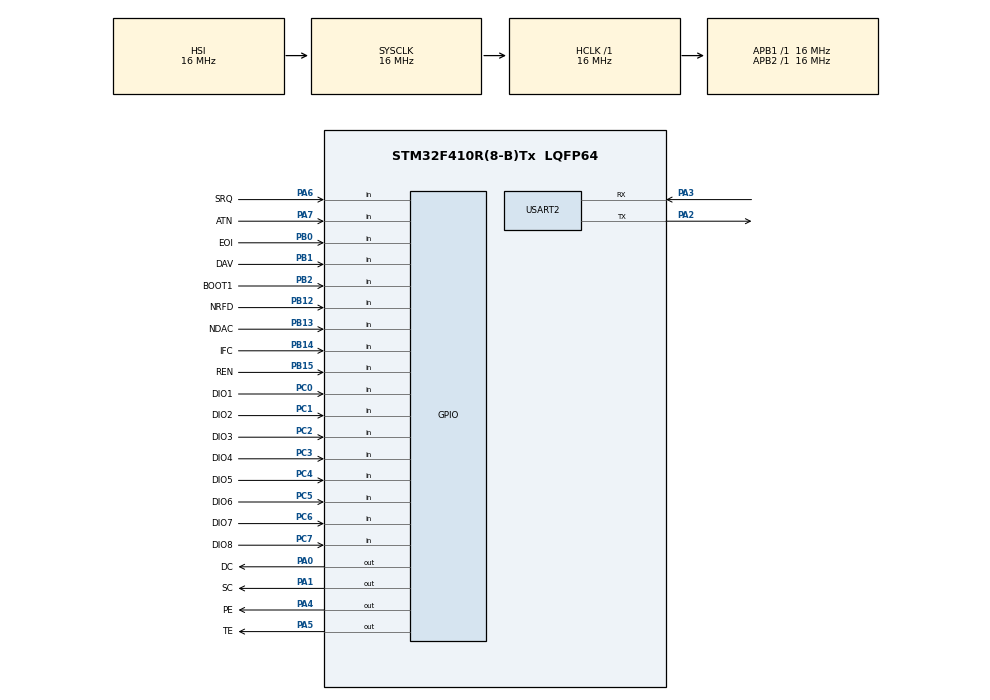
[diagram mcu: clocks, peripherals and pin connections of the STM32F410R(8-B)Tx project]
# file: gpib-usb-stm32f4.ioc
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Mcu.Family=STM32F4
Mcu.Name=STM32F410R(8-B)Tx
Mcu.Package=LQFP64
NVIC.PriorityGroup=NVIC_PRIORITYGROUP_4
PA0-WKUP.GPIO_Label=DC
PA0-WKUP.Signal=GPIO_Output
PA1.GPIO_Label=SC
PA1.Signal=GPIO_Output
PA13.Mode=Serial_Wire
PA13.Signal=SYS_JTMS-SWDIO
PA14.Mode=Serial_Wire
PA14.Signal=SYS_JTCK-SWCLK
PA2.Mode=Asynchronous
PA2.Signal=USART2_TX
PA3.Mode=Asynchronous
PA3.Signal=USART2_RX
PA4.GPIO_Label=PE
PA4.Signal=GPIO_Output
PA5.GPIO_Label=TE
PA5.Signal=GPIO_Output
PA6.GPIO_Label=SRQ
PA6.Signal=GPIO_Input
PA7.GPIO_Label=ATN
PA7.Signal=GPIO_Input
PB0.GPIO_Label=EOI
PB0.Signal=GPIO_Input
PB1.GPIO_Label=DAV
PB1.Signal=GPIO_Input
PB12.GPIO_Label=NRFD
PB12.Signal=GPIO_Input
PB13.GPIO_Label=NDAC
PB13.Signal=GPIO_Input
PB14.GPIO_Label=IFC
PB14.Signal=GPIO_Input
PB15.GPIO_Label=REN
PB15.Signal=GPIO_Input
PB2.GPIO_Label=BOOT1
PB2.Signal=GPIO_Input
PC0.GPIO_Label=DIO1
PC0.Signal=GPIO_Input
PC1.GPIO_Label=DIO2
PC1.Signal=GPIO_Input
PC2.GPIO_Label=DIO3
PC2.Signal=GPIO_Input
PC3.GPIO_Label=DIO4
PC3.Signal=GPIO_Input
PC4.GPIO_Label=DIO5
PC4.Signal=GPIO_Input
PC5.GPIO_Label=DIO6
PC5.Signal=GPIO_Input
PC6.GPIO_Label=DIO7
PC6.Signal=GPIO_Input
PC7.GPIO_Label=DIO8
PC7.Signal=GPIO_Input
PH0\ -\ OSC_IN.Mode=HSE-External-Clock-Source
PH0\ -\ OSC_IN.Signal=RCC_OSC_IN
PH1\ -\ OSC_OUT.Mode=HSE-External-Clock-Source
PH1\ -\ OSC_OUT.Signal=RCC_OSC_OUT
ProjectManager.HeapSize=0x200
ProjectManager.StackSize=0x400
ProjectManager.TargetToolchain=SW4STM32
RCC.AHBFreq_Value=16000000
RCC.APB1Freq_Value=16000000
RCC.APB2Freq_Value=16000000
RCC.CortexFreq_Value=16000000
RCC.HSE_VALUE=25000000
RCC.HSI_VALUE=16000000
RCC.LSE_VALUE=32768
RCC.SYSCLKFreq_VALUE=16000000
RCC.VCOOutputFreq_Value=192000000
USART2.VirtualMode=VM_ASYNC
board=custom

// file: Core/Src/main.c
/* USER CODE BEGIN Header */
/**
  ******************************************************************************
  * @file           : main.c
  * @brief          : Main program body
  ******************************************************************************
  * @attention
  *
  * <h2><center>&copy; Copyright (c) 2020 STMicroelectronics.
  * All rights reserved.</center></h2>
  *
  * This software component is licensed by ST under BSD 3-Clause license,
  * the "License"; You may not use this file except in compliance with the
  * License. You may obtain a copy of the License at:
  *                        opensource.org/licenses/BSD-3-Clause
  *
  ******************************************************************************
  */
/* USER CODE END Header */
#include "main.h"

/* USER CODE BEGIN Includes */
#include <string.h>
#include <stdio.h>
#include <stdlib.h>
#include "usbgpib.h"
/* USER CODE END Includes */

/* USER CODE BEGIN PD */
#define false (0)
#define true  (1)

#define buf_size (235)
/* USER CODE END PD */

UART_HandleTypeDef huart2;

/* USER CODE BEGIN PV */
const unsigned int version = 5;

char cmd_buf[10], buf[buf_size +20];
unsigned int buf_out = 0;
unsigned int buf_in = 0;

int partnerAddress = 1;
int myAddress;

char eos = 10; // Default end of string character.
char eos_string[3] = "";
char eos_code = 3;
char eoiUse = 1; // By default, we are using EOI to signal end of
                 // msg from instrument
char debug = 0; // enable or disable read&write error messages

uint8_t strip = 0;
char autoread = 1;
char eot_enable = 1;
char eot_char = 13; // default CR
char listen_only = 0;
char mode = 1;
char save_cfg = 1;
unsigned int status_byte = 0;

uint32_t timeout = 1000;
uint32_t seconds = 0;

// Variables for device mode
uint8_t device_talk = false;
uint8_t device_listen = false;
uint8_t device_srq = false;

// EEPROM variables
const char VALID_EEPROM_CODE = 0xAA;

#define WITH_TIMEOUT
#define WITH_WDT
//#define VERBOSE_DEBUG
/* USER CODE END PV */

void SystemClock_Config(void);
static void MX_GPIO_Init(void);
static void MX_USART2_UART_Init(void);
/* USER CODE BEGIN PFP */
void GPIO_Output_High(GPIO_TypeDef *port, uint32_t pin);
void GPIO_Output_Low(GPIO_TypeDef *port, uint32_t pin);
void GPIO_Output_Float(GPIO_TypeDef *port, uint32_t pin);
void prep_gpib_pins(void);
void gpib_init(void);
char gpib_controller_assign(int address);
char gpib_cmd(char *bytes, int length);
char gpib_write(char *bytes, int length, uint8_t useEOI);
char _gpib_write(char *bytes, int length, uint8_t attention, uint8_t useEOI);
/**
 *  @see https://github.com/STMicroelectronics/STM32CubeF4/blob/master/Projects/STM32F401RE-Nucleo/Examples/UART/UART_Printf/Src/main.c
 */
#ifdef __GNUC__
/* With GCC, small printf (option LD Linker->Libraries->Small printf
 set to 'Yes') calls __io_putchar() */
#define PUTCHAR_PROTOTYPE int __io_putchar(int ch)
#else
#define PUTCHAR_PROTOTYPE int fputc(int ch, FILE *f)
#endif /* __GNUC__ */

/* USER CODE END PFP */

int main(void)
{

  /* MCU Configuration--------------------------------------------------------*/

  /* Reset of all peripherals, Initializes the Flash interface and the Systick. */
  HAL_Init();

  /* Configure the system clock */
  SystemClock_Config();

  /* Initialize all configured peripherals */
  MX_GPIO_Init();
  MX_USART2_UART_Init();
  /* USER CODE BEGIN 2 */
  printf("GPIB USB\n");

  /* USER CODE END 2 */

  /* Infinite loop */
  while (1)
  {

  }
}

void SystemClock_Config(void)
{
  RCC_OscInitTypeDef RCC_OscInitStruct = {0};
  RCC_ClkInitTypeDef RCC_ClkInitStruct = {0};

  /** Configure the main internal regulator output voltage
  */
  __HAL_RCC_PWR_CLK_ENABLE();
  __HAL_PWR_VOLTAGESCALING_CONFIG(PWR_REGULATOR_VOLTAGE_SCALE1);
  /** Initializes the RCC Oscillators according to the specified parameters
  * in the RCC_OscInitTypeDef structure.
  */
  RCC_OscInitStruct.OscillatorType = RCC_OSCILLATORTYPE_HSI;
  RCC_OscInitStruct.HSIState = RCC_HSI_ON;
  RCC_OscInitStruct.HSICalibrationValue = RCC_HSICALIBRATION_DEFAULT;
  RCC_OscInitStruct.PLL.PLLState = RCC_PLL_NONE;
  if (HAL_RCC_OscConfig(&RCC_OscInitStruct) != HAL_OK)
  {
    Error_Handler();
  }
  /** Initializes the CPU, AHB and APB buses clocks
  */
  RCC_ClkInitStruct.ClockType = RCC_CLOCKTYPE_HCLK|RCC_CLOCKTYPE_SYSCLK
                              |RCC_CLOCKTYPE_PCLK1|RCC_CLOCKTYPE_PCLK2;
  RCC_ClkInitStruct.SYSCLKSource = RCC_SYSCLKSOURCE_HSI;
  RCC_ClkInitStruct.AHBCLKDivider = RCC_SYSCLK_DIV1;
  RCC_ClkInitStruct.APB1CLKDivider = RCC_HCLK_DIV1;
  RCC_ClkInitStruct.APB2CLKDivider = RCC_HCLK_DIV1;

  if (HAL_RCC_ClockConfig(&RCC_ClkInitStruct, FLASH_LATENCY_0) != HAL_OK)
  {
    Error_Handler();
  }
}

static void MX_USART2_UART_Init(void)
{

  huart2.Instance = USART2;
  huart2.Init.BaudRate = 115200;
  huart2.Init.WordLength = UART_WORDLENGTH_8B;
  huart2.Init.StopBits = UART_STOPBITS_1;
  huart2.Init.Parity = UART_PARITY_NONE;
  huart2.Init.Mode = UART_MODE_TX_RX;
  huart2.Init.HwFlowCtl = UART_HWCONTROL_NONE;
  huart2.Init.OverSampling = UART_OVERSAMPLING_16;
  if (HAL_UART_Init(&huart2) != HAL_OK)
  {
    Error_Handler();
  }

}

static void MX_GPIO_Init(void)
{
  GPIO_InitTypeDef GPIO_InitStruct = {0};

  /* GPIO Ports Clock Enable */
  __HAL_RCC_GPIOH_CLK_ENABLE();
  __HAL_RCC_GPIOC_CLK_ENABLE();
  __HAL_RCC_GPIOA_CLK_ENABLE();
  __HAL_RCC_GPIOB_CLK_ENABLE();

  /*Configure GPIO pin Output Level */
  HAL_GPIO_WritePin(GPIOA, DC_Pin|SC_Pin|PE_Pin|TE_Pin, GPIO_PIN_RESET);

  /*Configure GPIO pins : DIO1_Pin DIO2_Pin DIO3_Pin DIO4_Pin
                           DIO5_Pin DIO6_Pin DIO7_Pin DIO8_Pin */
  GPIO_InitStruct.Pin = DIO1_Pin|DIO2_Pin|DIO3_Pin|DIO4_Pin
                          |DIO5_Pin|DIO6_Pin|DIO7_Pin|DIO8_Pin;
  GPIO_InitStruct.Mode = GPIO_MODE_INPUT;
  GPIO_InitStruct.Pull = GPIO_NOPULL;
  HAL_GPIO_Init(GPIOC, &GPIO_InitStruct);

  /*Configure GPIO pins : DC_Pin SC_Pin PE_Pin TE_Pin */
  GPIO_InitStruct.Pin = DC_Pin|SC_Pin|PE_Pin|TE_Pin;
  GPIO_InitStruct.Mode = GPIO_MODE_OUTPUT_PP;
  GPIO_InitStruct.Pull = GPIO_NOPULL;
  GPIO_InitStruct.Speed = GPIO_SPEED_FREQ_LOW;
  HAL_GPIO_Init(GPIOA, &GPIO_InitStruct);

  /*Configure GPIO pins : SRQ_Pin ATN_Pin */
  GPIO_InitStruct.Pin = SRQ_Pin|ATN_Pin;
  GPIO_InitStruct.Mode = GPIO_MODE_INPUT;
  GPIO_InitStruct.Pull = GPIO_NOPULL;
  HAL_GPIO_Init(GPIOA, &GPIO_InitStruct);

  /*Configure GPIO pins : EOI_Pin DAV_Pin BOOT1_Pin NRFD_Pin
                           NDAC_Pin IFC_Pin REN_Pin */
  GPIO_InitStruct.Pin = EOI_Pin|DAV_Pin|BOOT1_Pin|NRFD_Pin
                          |NDAC_Pin|IFC_Pin|REN_Pin;
  GPIO_InitStruct.Mode = GPIO_MODE_INPUT;
  GPIO_InitStruct.Pull = GPIO_NOPULL;
  HAL_GPIO_Init(GPIOB, &GPIO_InitStruct);

}

/* USER CODE BEGIN 4 */
/**
 * @brief  Retargets the C library printf function to the USART.
 * @param  None
 * @retval None
 */
PUTCHAR_PROTOTYPE {
	/* Place your implementation of fputc here */
	/* e.g. write a character to the EVAL_COM1 and Loop until the end of transmission */
	HAL_UART_Transmit(&huart2, (uint8_t *) &ch, 1, 0xFFFF);

	return ch;
}

void GPIO_Output_High(GPIO_TypeDef *port, uint32_t pin){
	static GPIO_InitTypeDef GPIO_InitStruct = {0};
	GPIO_InitStruct.Pin = pin;
	GPIO_InitStruct.Mode = GPIO_MODE_OUTPUT_PP;
	GPIO_InitStruct.Speed = GPIO_SPEED_FREQ_HIGH;
	GPIO_InitStruct.Pull = GPIO_NOPULL;
	HAL_GPIO_Init(GPIOA, &GPIO_InitStruct);
	HAL_GPIO_WritePin(port, pin, GPIO_PIN_SET);
}

void GPIO_Output_Low(GPIO_TypeDef *port, uint32_t pin){
	static GPIO_InitTypeDef GPIO_InitStruct = {0};
	GPIO_InitStruct.Pin = pin;
	GPIO_InitStruct.Mode = GPIO_MODE_OUTPUT_PP;
	GPIO_InitStruct.Speed = GPIO_SPEED_FREQ_HIGH;
	GPIO_InitStruct.Pull = GPIO_NOPULL;
	HAL_GPIO_Init(GPIOA, &GPIO_InitStruct);
	HAL_GPIO_WritePin(port, pin, GPIO_PIN_RESET);
}

void GPIO_Output_Float(GPIO_TypeDef *port, uint32_t pin){
	static GPIO_InitTypeDef GPIO_InitStruct = {0};
	GPIO_InitStruct.Pin = pin;
	GPIO_InitStruct.Mode = GPIO_MODE_INPUT;
	GPIO_InitStruct.Speed = GPIO_SPEED_FREQ_HIGH;
	GPIO_InitStruct.Pull = GPIO_NOPULL;
	HAL_GPIO_Init(GPIOA, &GPIO_InitStruct);
}

void prep_gpib_pins(void){
	GPIO_Output_Low(TE_GPIO_Port, TE_Pin); // Disables talking on data and handshake lines
	GPIO_Output_Low(PE_GPIO_Port, PE_Pin);

    if (mode) {
	    GPIO_Output_High(SC_GPIO_Port, SC_Pin); // Allows transmit on REN and IFC
	    GPIO_Output_Low(DC_GPIO_Port, SC_Pin); // Transmit ATN and receive SRQ
	}
	else {
	    GPIO_Output_Low(SC_GPIO_Port, SC_Pin);
	    GPIO_Output_High(DC_GPIO_Port, DC_Pin);
	}

	GPIO_Output_Float(DIO1_GPIO_Port, DIO1_Pin);
	GPIO_Output_Float(DIO2_GPIO_Port, DIO2_Pin);
	GPIO_Output_Float(DIO3_GPIO_Port, DIO3_Pin);
	GPIO_Output_Float(DIO4_GPIO_Port, DIO4_Pin);
	GPIO_Output_Float(DIO5_GPIO_Port, DIO5_Pin);
	GPIO_Output_Float(DIO6_GPIO_Port, DIO6_Pin);
	GPIO_Output_Float(DIO7_GPIO_Port, DIO7_Pin);
	GPIO_Output_Float(DIO8_GPIO_Port, DIO8_Pin);

	if (mode) {
	    GPIO_Output_High  (ATN_GPIO_Port, ATN_Pin);
	    GPIO_Output_Float (EOI_GPIO_Port, EOI_Pin);
	    GPIO_Output_Float (DAV_GPIO_Port, DAV_Pin);
	    GPIO_Output_Low   (NRFD_GPIO_Port, NRFD_Pin);
	    GPIO_Output_Low   (NDAC_GPIO_Port, NDAC_Pin);
	    GPIO_Output_High  (IFC_GPIO_Port, IFC_Pin);
	    GPIO_Output_Float (SRQ_GPIO_Port, SRQ_Pin);
	    GPIO_Output_Low   (REN_GPIO_Port, REN_Pin);
	}
	else {
	    GPIO_Output_Float(ATN_GPIO_Port, ATN_Pin);
	    GPIO_Output_Float(EOI_GPIO_Port, EOI_Pin);
	    GPIO_Output_Float(DAV_GPIO_Port, DAV_Pin);
	    GPIO_Output_Float(NRFD_GPIO_Port, NRFD_Pin);
	    GPIO_Output_Float(NDAC_GPIO_Port, NDAC_Pin);
	    GPIO_Output_Float(IFC_GPIO_Port, IFC_Pin);
	    GPIO_Output_Float(SRQ_GPIO_Port, SRQ_Pin);
	    GPIO_Output_Float(REN_GPIO_Port, REN_Pin);
	}
}

void gpib_init() {
	prep_gpib_pins(); // Put all the pins into high-impedance mode
	//GPIO_Output_Low(NRFD_GPIO_Port, NRFD_Pin); // ?? Needed ??
	GPIO_Output_High(NDAC_GPIO_Port, NDAC_Pin); // ?? Needed ??
}

char gpib_controller_assign(int address) {
	myAddress = address;
	GPIO_Output_Low(IFC_GPIO_Port, IFC_Pin); // Assert interface clear. Resets bus and makes it
	                 // controller in charge.
	HAL_Delay(200);
	GPIO_Output_Float(IFC_GPIO_Port, IFC_Pin); // Finishing clearing interface

	GPIO_Output_Low(REN_GPIO_Port, REN_Pin); // Put all connected devices into "remote" mode
	cmd_buf[0] = CMD_DCL;
	return gpib_cmd(cmd_buf, 1); // Send GPIB DCL cmd, clear all devices on bus
}

char gpib_cmd(char *bytes, int length) {
    // Write a GPIB CMD byte to the bus
	return _gpib_write(bytes, length, 1, 0);
}

char gpib_write(char *bytes, int length, uint8_t useEOI) {
    // Write a GPIB data string to the bus
	return _gpib_write(bytes, length, 0, useEOI);
}

char _gpib_write(char *bytes, int length, uint8_t attention, uint8_t useEOI) {
    /*
    * Write a string of bytes to the bus
    * bytes: array containing characters to be written
    * length: number of bytes to write, 0 if not known.
    * attention: 1 if this is a gpib command, 0 for data
    */
	char a; // Storage variable for the current character
	int i; // Loop counter variable

	GPIO_Output_High(PE_GPIO_Port, PE_Pin);

	if(attention) // If byte is a gpib bus command
	{
		GPIO_Output_Low(ATN_GPIO_Port, ATN_Pin); // Assert the ATN line, informing all
		                 // this is a cmd byte.
	}

	if(length==0) // If the length was unknown
	{
		length = strlen((char*)bytes); // Calculate the number of bytes to
		                               // be sent
	}

	GPIO_Output_High(TE_GPIO_Port, TE_Pin); // Enable talking

	GPIO_Output_High(EOI_GPIO_Port, EOI_Pin);
	GPIO_Output_High(DAV_GPIO_Port, DAV_Pin);
	GPIO_Output_Float(NRFD_GPIO_Port, NRFD_Pin);
	GPIO_Output_Float(NDAC_GPIO_Port, NDAC_Pin);

	// Before we start transfering, we have to make sure that NRFD is high
	// and NDAC is low
    #ifdef WITH_TIMEOUT
	seconds = 0;
	/** @todo fix interrupt issue */
	// enable_interrupts(INT_TIMER2);
	// while((input(NDAC) || !(input(NRFD))) && (seconds <= timeout)) {
	while(0){
	    //restart_wdt();
		if(seconds >= timeout) {
		    if (debug == 1) {
			    printf("Timeout: Before writing %c %x ", bytes[0], bytes[0]);
			}
			device_talk = false;
			device_srq = false;
			prep_gpib_pins();
			return 1;
		}
	}
	// disable_interrupts(INT_TIMER2);
    #else
	while(input(NDAC)){}
    #endif

	for(i = 0;i < length;i++) { //Loop through each character, write to bus
		a = bytes[i]; // So I don't have to keep typing bytes[i]

		#ifdef VERBOSE_DEBUG
		printf("Writing byte: %c %x %c", a, a, eot_char);
		#endif

		// Wait for NDAC to go low, indicating previous bit is now done with
    #ifdef WITH_TIMEOUT
		seconds = 0;
		/** @todo fix interrupt issue */
		// enable_interrupts(INT_TIMER2);
		// while(input(NDAC) && (seconds <= timeout)) {
		while (0) {
		    restart_wdt();
			if(seconds >= timeout) {
			    if (debug == 1) {
				    printf("Timeout: Waiting for NDAC to go low while writing%c", eot_char);
				}
				device_talk = false;
				device_srq = false;
				prep_gpib_pins();
				return 1;
			}
		}
		// disable_interrupts(INT_TIMER2);
    #else
		while(input(NDAC)){}
    #endif

		// Put the byte on the data lines
		a = a^0xff;
		/** @todo Do this with HAL library */
		// output_b(a);

		GPIO_Output_Float(NRFD_GPIO_Port, NRFD_Pin);

		// Wait for listeners to be ready for data (NRFD should be high)
    #ifdef WITH_TIMEOUT
		seconds = 0;
		/** @todo fix interrupt issue */
		// enable_interrupts(INT_TIMER2);
		// while(!(input(NRFD)) && (seconds <= timeout)) {
		while(0){
		    restart_wdt();
			if(seconds >= timeout) {
			    if (debug == 1) {
				    printf("Timeout: Waiting for NRFD to go high while writing%c", eot_char);
			    }
			    device_talk = false;
			    device_srq = false;
			    prep_gpib_pins();
				return 1;
			}
		}
		// disable_interrupts(INT_TIMER2);
    #else
		while(!(input(NRFD))){}
    #endif

		if((i==length-1) && (useEOI)) { // If last byte in string
			GPIO_Output_Low(EOI_GPIO_Port, EOI_Pin); // Assert EOI
		}

		GPIO_Output_Low(DAV_GPIO_Port, DAV_Pin); // Inform listeners that the data is ready to be read

		// Wait for NDAC to go high, all listeners have accepted the byte
    #ifdef WITH_TIMEOUT
		seconds = 0;
		/** @todo fix interrupt issue */
		// enable_interrupts(INT_TIMER2);
		// while(!(input(NDAC)) && (seconds <= timeout)) {
		while(0){
		    restart_wdt();
			if(seconds >= timeout) {
			    if (debug == 1) {
			        printf("Timeout: Waiting for NDAC to go high while writing%c", eot_char);
			    }
			    device_talk = false;
			    device_srq = false;
			    prep_gpib_pins();
				return 1;
			}
		}
		// disable_interrupts(INT_TIMER2);
    #else
		while(!(input(NDAC))){}
    #endif

		GPIO_Output_High(DAV_GPIO_Port, DAV_Pin); // Byte has been accepted by all, indicate
		                   // byte is no longer valid

	} // Finished outputing all bytes to listeners

	GPIO_Output_Low(TE_GPIO_Port, TE_Pin); // Disable talking on datalines

	// Float all data lines
	GPIO_Output_Float(DIO1_GPIO_Port, DIO1_Pin);
	GPIO_Output_Float(DIO2_GPIO_Port, DIO2_Pin);
	GPIO_Output_Float(DIO3_GPIO_Port, DIO3_Pin);
	GPIO_Output_Float(DIO4_GPIO_Port, DIO4_Pin);
	GPIO_Output_Float(DIO5_GPIO_Port, DIO5_Pin);
	GPIO_Output_Float(DIO6_GPIO_Port, DIO6_Pin);
	GPIO_Output_Float(DIO7_GPIO_Port, DIO7_Pin);
	GPIO_Output_Float(DIO8_GPIO_Port, DIO8_Pin);

	if(attention) { // If byte was a gpib cmd byte
		GPIO_Output_High(ATN_GPIO_Port, ATN_Pin); // Release ATN line
	}

	GPIO_Output_Float(DAV_GPIO_Port, DAV_Pin);
	GPIO_Output_Float(EOI_GPIO_Port, EOI_Pin);
	GPIO_Output_High(NDAC_GPIO_Port, NDAC_Pin);
	GPIO_Output_High(NRFD_GPIO_Port, NRFD_Pin);

	GPIO_Output_Low(PE_GPIO_Port, PE_Pin);

	return 0;
}

/* USER CODE END 4 */

void Error_Handler(void)
{
}

/************************ (C) COPYRIGHT STMicroelectronics *****END OF FILE****/
